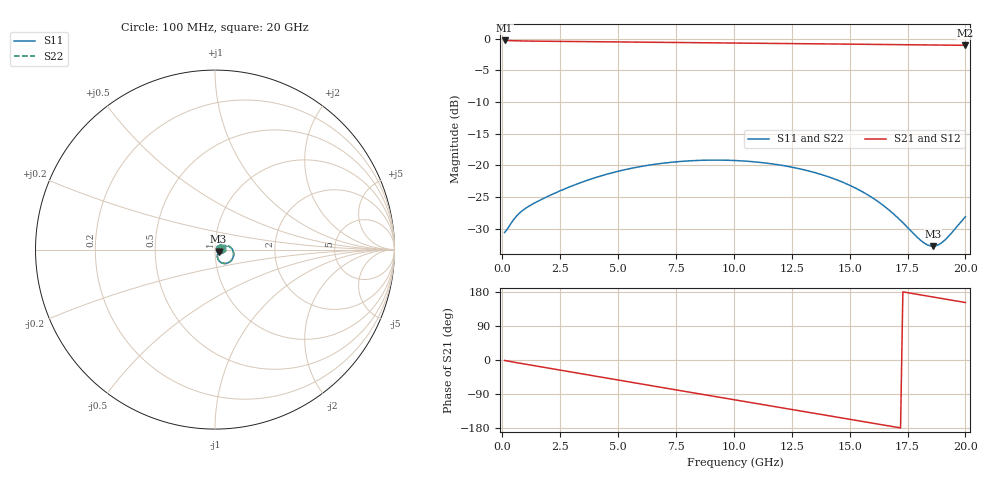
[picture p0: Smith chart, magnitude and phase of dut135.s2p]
! Touchstone file exported from HFSS 2026.1.0
!  File:  C:/ffzhzh/LocalFiles/Ansys_Project_Files/temp_train_TSV_RDL_135_1783049901_36532.aedt
!  Generated:  11:44:59 AM Jul  3, 2026
!  Design:  TSV_RDL
!  Project:  temp_train_TSV_RDL_135_1783049901_36532
! Variables:
!  h_bsmrdl = 2.85um
!  h_ox = 20um
!  h_rdl = 5um
!  h_sub = 53.99um
!  h_tmrdl = 3.46um
!  h_tsv = 53.99um
!  h_via = 3um
!  l_bsmrdl = 798.94um
!  l_sub = 3453.74um
!  l_tmrdl = 143.47um
!  m_sub = 200um
!  pitch = 17.93um
!  r_tsv = 7.33um
!  s_tmrdl = 10um
!  w_bsmrdl = 12.08um
!  w_sub = 500um
!  w_tmrdl = 15.6um
!  x_tsv_center1 = 151.27um
!  x_tsv_center2 = 962.29um
!  x_tsv_center3 = 1121.36um
!  x_tsv_center4 = 1932.38um
!  x_tsv_center5 = 2091.45um
!  x_tsv_center6 = 2902.47um
# GHz S MA R 50.000000
! Terminal data exported
! Port[1] = TM_RDL1_1_T1
! Port[2] = TM_RDL5_1_T1
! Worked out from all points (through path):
!   200 points, 100 MHz to 20 GHz, reference 50 ohm
!   highest |S21| = -0.26 dB at 100 MHz (marker M1); lowest = -1.0 dB at 20 GHz (marker M2)
!   group delay of S21, straight-line fit = 28.8 ps
!   lowest |S11| = -32.8 dB at 18.6 GHz (marker M3), VSWR 1.05, Z = 52 - j1.19 ohm
!   |S11| at or under -10 dB: start of sweep to end of sweep
!   |S22| runs from -32.8 to -19.2 dB; largest |S21 - S12| = 1.6e-14
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0.1  0.02946 6.4  0.9708 -1.2  0.9708 -1.2  0.02946 6.4
! Gamma 0 0 0 0
! Port Impedance 50 0 50 0
0.6  0.0394 19.9  0.9646 -6.8  0.9646 -6.8  0.0394 19.9
1.1  0.04689 21.0  0.9602 -12.0  0.9602 -12.0  0.0469 21.0
2.3  0.06055 20.5  0.9553 -24.6  0.9553 -24.6  0.06055 20.5
3.5  0.07423 16.1  0.9511 -37.2  0.9511 -37.2  0.07421 16.2
5.2  0.09149 5.4  0.9446 -54.9  0.9446 -54.9  0.09146 5.4
6.8  0.1031 -7.0  0.9382 -71.6  0.9382 -71.6  0.1031 -6.9
7.6  0.1069 -13.5  0.935 -79.9  0.935 -79.9  0.1068 -13.4
8.4  0.1092 -20.1  0.9318 -88.2  0.9318 -88.2  0.1091 -20.0
9.2  0.11 -26.7  0.9287 -96.4  0.9287 -96.4  0.1099 -26.7
10.1  0.109 -34.1  0.9252 -105.7  0.9252 -105.7  0.1089 -34.1
11.7  0.1024 -47.0  0.9193 -122.3  0.9193 -122.3  0.1023 -46.9
13.4  0.08856 -59.6  0.9134 -139.8  0.9134 -139.8  0.08848 -59.5
14.3  0.07853 -65.4  0.9102 -149.1  0.9102 -149.1  0.07846 -65.3
15.2  0.06679 -70.2  0.9071 -158.4  0.9071 -158.4  0.06673 -70.1
16  0.05513 -72.7  0.9043 -166.7  0.9043 -166.7  0.05509 -72.6
16.7  0.04433 -72.2  0.9017 -174.0  0.9017 -174.0  0.0443 -72.1
18.1  0.02524 -50.4  0.8964 171.5  0.8964 171.5  0.02523 -50.4
18.6  0.02294 -29.9  0.8944 166.3  0.8944 166.3  0.02291 -29.8
18.8  0.02337 -20.8  0.8936 164.2  0.8936 164.2  0.02334 -20.8
19.1  0.02551 -8.6  0.8924 161.1  0.8924 161.1  0.02546 -8.6
20  0.03924 11.7  0.8885 151.7  0.8885 151.7  0.03915 11.8
